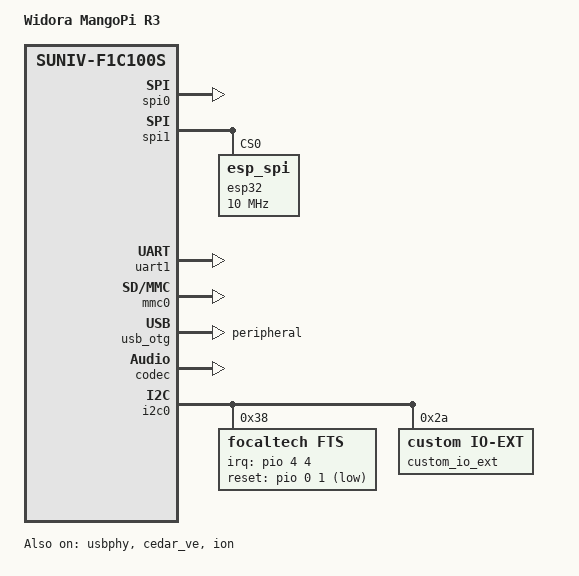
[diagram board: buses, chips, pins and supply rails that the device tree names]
// SPDX-License-Identifier: (GPL-2.0+ OR X11)

/dts-v1/;
#include "suniv-f1c100s.dtsi"

/ {
	model = "Widora MangoPi R3";
	compatible = "allwinner,suniv-f1c200s",
			 "allwinner,suniv-f1c100s";

	chosen {
		#address-cells = <1>;
		#size-cells = <1>;
		ranges;
		//从flash启动
		// bootargs = "console=ttyS0,115200 rootwait init=/preinit root=/dev/mtdblock2 rootfstype=squashfs overlayfsdev=/dev/mtdblock3";
		//从sd卡启动
		   bootargs = "console=ttyS0,115200 earlyprintk rootwait init=/preinit root=/dev/mmcblk0p3 rw rootfstype=ext4";

		simplefb_lcd: framebuffer-lcd0 {
			compatible = "allwinner,simple-framebuffer",
				     "simple-framebuffer";
			allwinner,pipeline = "de_be0-lcd0";
			clocks = <&ccu CLK_BUS_DE_BE>, <&ccu CLK_DE_BE>,
				 <&ccu CLK_DRAM_DE_BE>, <&ccu CLK_BUS_LCD>,
				 <&ccu CLK_TCON>;
			status = "disabled";
		};
	};

	// panel: panel {
	// 	compatible = "bananapi,s070wv20-ct16", "simple-panel";
	// 	#address-cells = <1>;
	// 	#size-cells = <0>;

	// 	port@0 {
	// 		reg = <0>;
	// 		#address-cells = <1>;
	// 		#size-cells = <0>;

	// 		panel_input: endpoint@0 {
	// 			reg = <0>;
	// 			remote-endpoint = <&tcon0_out_lcd>;
	// 		};
	// 	};
	// };
};

&spi0 {
	status = "okay";

	spi-nor@0 {
		#address-cells = <1>;
		#size-cells = <1>;
		compatible = "winbond,w25q128", "jedec,spi-nor";
		reg = <0>;
		spi-max-frequency = <50000000>;
		status = "disabled";

		partitions {
			compatible = "fixed-partitions";
			#address-cells = <1>;
			#size-cells = <1>;

			partition@0 {
				label = "u-boot";
				reg = <0x000000 0x70000>;
				read-only;
			};

			partition@1 {
				label = "kernel";
				reg = <0x70000 0x590000>;
				read-only;
			};

			partition@2 {
				label = "rom";
				reg = <0x600000 0x700000>;
				read-only;
			};

			partition@3 {
				label = "overlay";
				reg = <0xd00000 0x300000>;
			};
		};
	};

	spi-nand@0 {
		#address-cells = <1>;
		#size-cells = <1>;
		compatible = "spi-nand";
		reg = <0>;
		spi-max-frequency = <50000000>;
		status = "disabled";
		partitions {
			compatible = "fixed-partitions";
			#address-cells = <1>;
			#size-cells = <1>;

			partition@0 {
				label = "u-boot";
				reg = <0x000000 0x100000>;
				read-only;
			};

			partition@1 {
				label = "kernel";
				reg = <0x100000 0x500000>;
				read-only;
			};

			partition@2 {
				label = "rom";
				reg = <0x600000 0x2a00000>;
				read-only;
			};

			partition@3 {
				label = "vendor";
				reg = <0x3000000 0x1000000>;
			};

			partition@4 {
				label = "overlay";
				reg = <0x4000000 0x3000000>;
			};
		};
	};
};

&spi1 {
	status = "okay";

	esp8089: wifi@0 {
		compatible = "esp8089";
		spi-cpol;
		spi-cpha;
		reg = <0>;
		spi-max-frequency = <30000000>;

		cs = <135>;			//PE7 128 + 7 = 135
		reset= <132>;		//PE4 128 + 4 = 132
		interrupt= <133>;	//PE5 128 + 5 = 133
		debug= <0>;
		
		status = "disabled";
	};

	esp32: wifi@0 {
		compatible = "esp_spi";
		spi-cpol;				//mode 2
		//spi-cpha;
		reg = <0>;
		spi-max-frequency = <10000000>;

		cs = <135>;				//PE7 128 + 7 = 135
		reset= <0>;				//PA0 0 + 0 = 0
		shake-hands = <134>;	//PE6 128 + 6 = 134
		interrupt= <133>;		//PE5 128 + 5 = 133
		debug= <0>;
		
		status = "okay";
	};
};

&uart1 {
	pinctrl-names = "default";
	pinctrl-0 = <&uart1_pa_pins>;
	status = "okay";
};

&mmc0 {
	status = "okay";
	broken-cd;
};

&otg_sram {
	status = "okay";
};

&usb_otg {
	dr_mode = "peripheral"; /* host peripheral */
	status = "okay";
};

&usbphy {
	status = "okay";
};

&cedar_ve {
	status = "okay";
};

&ion {
	status = "okay";
};

// &de {
// 	status = "okay";
// };

// &fe0 {
// 	status = "okay";
// };

// &be0 {
// 	status = "okay";
// };

// &tve0 {
// 	status = "okay";
// };

// &tcon0 {
// 	pinctrl-names = "default";
// 	pinctrl-0 = <&lcd_rgb565_pins>;
// 	status = "okay";
// };

// &tcon0_out {
// 	tcon0_out_lcd: endpoint@0 {
// 		reg = <0>;
// 		remote-endpoint = <&panel_input>;
// 	};
// };

&codec {
	allwinner,audio-routing =
		"Headphone", "HP",
		"Headphone", "HPCOM",
		"LINEIN", "Line In",
		"FMINL", "Left FM In",
		"FMINR", "Right FM In",
		"MIC", "Mic";
	status = "okay";
};

&i2c0 {
	pinctrl-names = "default";
	pinctrl-0 = <&i2c0_pe_pins>;
	status = "okay";

	// rtp@48 {
	// 	compatible = "ti,tsc2007";
	// 	reg = <0x48>;
	// 	interrupt-parent = <&pio>;
	// 	interrupts = <4 12 IRQ_TYPE_EDGE_FALLING>;
	// 	gpios = <&pio 4 12 GPIO_ACTIVE_LOW>;
	// 	pendown-gpio = <&pio 4 12 GPIO_ACTIVE_LOW>;
	// 	ti,x-plate-ohms = <660>;
	// 	wakeup-source;
	// 	status = "disabled";
	// };

	// ctp@5d {
	// 	compatible = "goodix,gt911";
	// 	reg = <0x5d>;
	// 	interrupt-parent = <&pio>;
	// 	interrupts = <4 12 IRQ_TYPE_EDGE_FALLING>; // PE12
	// 	irq-gpios = <&pio 4 12 GPIO_ACTIVE_HIGH>; // PE12
	// 	reset-gpios = <&pio 0 0 GPIO_ACTIVE_HIGH>; // PA0
	// };

	// ov2640: camera@30 {
	// 	compatible = "ovti,ov2640";
	// 	reg = <0x30>;
	// 	pinctrl-0 = <&clk_out_pins>;
	// 	pinctrl-names = "default";
	// 	clocks = <&clk_out>;
	// 	clock-names = "xvclk";
	// 	assigned-clocks = <&clk_out>;
	// 	assigned-clock-rates = <24000000>;

	// 	port {
	// 		ov2640_ep: endpoint {
	// 			remote-endpoint = <&csi0_ep>;
	// 			bus-width = <8>;
	// 			hsync-active = <0>;
	// 			vsync-active = <0>;
	// 			pclk-sample = <1>;
	// 		};
	// 	};
	// };

	// ov5640: camera@3c {
	// 	compatible = "ovti,ov5640";
	// 	reg = <0x3c>;
	// 	pinctrl-0 = <&clk_out_pins>;
	// 	pinctrl-names = "default";
	// 	clocks = <&clk_out>;
	// 	clock-names = "xclk";
	// 	assigned-clocks = <&clk_out>;
	// 	assigned-clock-rates = <24000000>;
	// 	status = "disabled";

	// 	port {
	// 		ov5640_ep: endpoint {
	// 			remote-endpoint = <&csi0_ep>;
	// 			bus-width = <8>;
	// 			hsync-active = <0>;
	// 			vsync-active = <0>;
	// 			pclk-sample = <1>;
	// 		};
	// 	};
	// };

	focaltech@38{ 
		compatible = "focaltech,fts";	
		reg = <0x38>;  					
		// interrupt-parent = <&msm_gpio>;				
		// interrupts = <13 0x02>;
		// focaltech,reset-gpio = <&msm_gpio 12 0x01>; 
		// focaltech,irq-gpio = <&msm_gpio 13 0x02>; 	

		interrupt-parent = <&pio>;
		// interrupts = <4 0 IRQ_TYPE_EDGE_FALLING>; 			// PE4
		// focaltech,irq-gpio = <&pio 4 0 GPIO_ACTIVE_HIGH>; 	// PE4
		interrupts = <4 4 IRQ_TYPE_EDGE_FALLING>; 			// PE4
		focaltech,irq-gpio = <&pio 4 4 GPIO_ACTIVE_HIGH>; 	// PE4
		focaltech,reset-gpio = <&pio 0 1 GPIO_ACTIVE_LOW>; 	// PA1
		focaltech,max-touch-number = <5>;			
		focaltech,display-coords =  <0 0 480 480>;


		// interrupt = <&pio 4 0 GPIO_ACTIVE_HIGH>; // PA1
		// reset-gpio = <&pio 0 0 GPIO_ACTIVE_HIGH>; // PA0
		// touchscreen-size-x = <480>;
		// touchscreen-size-y = <480>;
		// touchscreen-inverted-x;
		// touchscreen-inverted-x-y;

		// pinctrl-names = "pmx_ts_active","pmx_ts_suspend","pmx_ts_release";
		// pinctrl-0 = <&ts_int_active &ts_reset_active>;
		// pinctrl-1 = <&ts_int_suspend &ts_reset_suspend>;
		// pinctrl-2 = <&ts_release>;

		// focaltech,have-key;
		// focaltech,key-number = <3>;	
		// focaltech,keys = <139 102 158>; 	
		// focaltech,key-y-coord = <2000>; 
		// focaltech,key-x-coords = <200 600 800>;
	};

	custom_io_ext@2a{
        compatible = "custom,io-ext";
        reg = <0x2a>;
        // interrupts = <23>;
    };
};

// &csi0 {
// 	pinctrl-names = "default";
// 	pinctrl-0 = <&csi0_pins>;
// 	packed-format;
// 	status = "okay";

// 	port {
// 		csi0_ep: endpoint {
// 			remote-endpoint = <&ov2640_ep>;
// 			bus-width = <8>;
// 			hsync-active = <0>;
// 			vsync-active = <0>;
// 			pclk-sample = <1>;
// 		};
// 	};
// };
